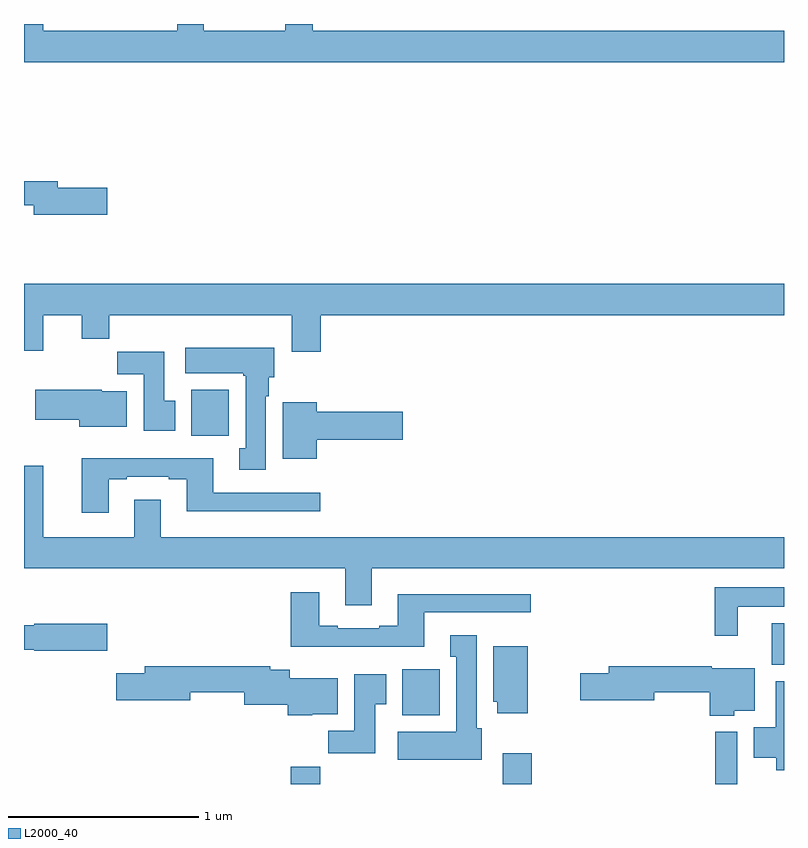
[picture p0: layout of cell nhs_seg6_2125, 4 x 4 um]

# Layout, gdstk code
import gdstk
lib = gdstk.Library(unit=1e-6, precision=1e-09)
def R(c, l, rs):  # rectangles x0, y0, x1, y1
    for r in rs: c.add(gdstk.rectangle(r[:2], r[2:], *l))
def P(c, l, *ps):  # polygons
    for p in ps: c.add(gdstk.Polygon(p, *l))
L2000_40 = (2000, 40)

nhs_seg6_2125 = lib.new_cell('nhs_seg6_2125')
R(nhs_seg6_2125, L2000_40, [(238.403,979.5,238.559,979.592), (239.519,979.5,239.672,979.663), (240.637,979.5,240.753,979.774), (238.991,979.862,239.188,980.104), (240.935,980.127,241,980.347), (237.881,981.332,238.078,981.574)])
P(nhs_seg6_2125, L2000_40, [(241,983.464),(238.52,983.464),(238.52,983.5),(238.376,983.5),(238.376,983.464),(237.946,983.464),(237.946,983.5),(237.806,983.5),(237.806,983.464),(237.1,983.464),(237.1,983.5),(237,983.5),(237,983.3),(241,983.3)],
  [(237.439,982.637),(237.178,982.637),(237.178,982.673),(237,982.673),(237,982.545),(237.05,982.545),(237.05,982.495),(237.439,982.495)],
  [(238.562,981.968),(241,981.968),(241,982.132),(237,982.132),(237,981.78),(237.1,981.78),(237.1,981.968),(237.305,981.968),(237.305,981.844),(237.449,981.844),(237.449,981.968),(238.409,981.968),(238.409,981.774),(238.562,981.774)],
  [(238.273,981.542),(238.288,981.542),(238.288,981.642),(238.318,981.642),(238.318,981.796),(237.849,981.796),(237.849,981.662),(238.153,981.662),(238.153,981.649),(238.166,981.649),(238.166,981.266),(238.133,981.266),(238.133,981.153),(238.273,981.153)],
  [(237.796,981.516),(237.739,981.516),(237.739,981.775),(237.49,981.775),(237.49,981.656),(237.629,981.656),(237.629,981.36),(237.796,981.36)],
  [(237.541,981.568),(237.408,981.568),(237.408,981.574),(237.06,981.574),(237.06,981.416),(237.29,981.416),(237.29,981.38),(237.541,981.38)],
  [(238.54,981.311),(238.993,981.311),(238.993,981.458),(238.54,981.458),(238.54,981.508),(238.361,981.508),(238.361,981.212),(238.54,981.212)],
  [(237.445,981.105),(237.541,981.105),(237.541,981.117),(237.761,981.117),(237.761,981.105),(237.857,981.105),(237.857,980.936),(238.558,980.936),(238.558,981.033),(237.997,981.033),(237.997,981.214),(237.305,981.214),(237.305,980.928),(237.445,980.928)],
  [(238.831,980.636),(241,980.636),(241,980.8),(237.721,980.8),(237.721,980.995),(237.581,980.995),(237.581,980.8),(237.1,980.8),(237.1,981.175),(237,981.175),(237,980.636),(238.691,980.636),(238.691,980.442),(238.831,980.442)],
  [(240.757,980.432),(241,980.432),(241,980.536),(240.636,980.536),(240.636,980.28),(240.757,980.28)],
  [(239.107,980.403),(239.668,980.403),(239.668,980.5),(238.967,980.5),(238.967,980.332),(238.871,980.332),(238.871,980.319),(238.651,980.319),(238.651,980.332),(238.555,980.332),(238.555,980.509),(238.403,980.509),(238.403,980.222),(239.107,980.222)],
  [(237.439,980.343),(237.054,980.343),(237.054,980.335),(237,980.335),(237,980.206),(237.054,980.206),(237.054,980.201),(237.439,980.201)],
  [(239.41,979.794),(239.383,979.794),(239.383,980.284),(239.243,980.284),(239.243,980.171),(239.276,980.171),(239.276,979.774),(238.967,979.774),(238.967,979.628),(239.41,979.628)],
  [(239.65,980.224),(239.471,980.224),(239.471,979.932),(239.492,979.932),(239.492,979.872),(239.65,979.872)],
  [(240.738,979.886),(240.847,979.886),(240.847,980.11),(240.621,980.11),(240.621,980.12),(240.077,980.12),(240.077,980.084),(239.928,980.084),(239.928,979.942),(240.316,979.942),(240.316,979.984),(240.61,979.984),(240.61,979.859),(240.738,979.859)],
  [(238.518,979.868),(238.651,979.868),(238.651,980.056),(238.399,980.056),(238.399,980.101),(238.295,980.101),(238.295,980.12),(237.635,980.12),(237.635,980.084),(237.486,980.084),(237.486,979.942),(237.874,979.942),(237.874,979.984),(238.16,979.984),(238.16,979.916),(238.388,979.916),(238.388,979.862),(238.518,979.862)],
  [(238.849,979.921),(238.906,979.921),(238.906,980.077),(238.739,980.077),(238.739,979.78),(238.6,979.78),(238.6,979.662),(238.849,979.662)],
  [(241,980.042),(240.956,980.042),(240.956,979.798),(240.842,979.798),(240.842,979.637),(240.959,979.637),(240.959,979.572),(241,979.572)])

lib.write_gds('nhs_seg6_2125.gds')
